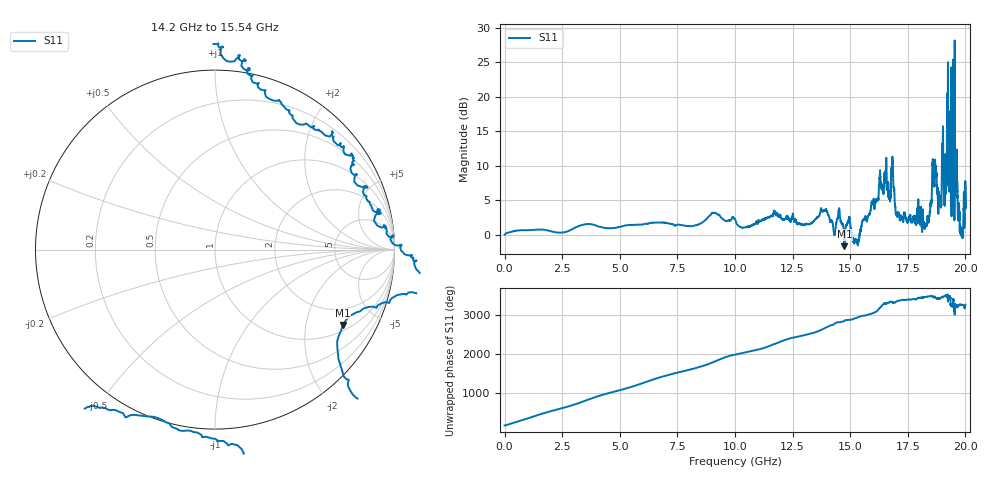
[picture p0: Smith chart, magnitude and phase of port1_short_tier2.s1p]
! Created with skrf 1.8.0 (http://scikit-rf.org).
# GHz S RI R 50.0
!freq ReS11 ImS11
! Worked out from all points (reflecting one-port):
!   10001 points, 1 MHz to 20 GHz, reference 50 ohm
!   lowest |S11| = -1.7 dB at 14.75 GHz (marker M1), VSWR 10.56, Z = 60.8 - j162 ohm
!   phase of S11 starts at 180 deg and turns +3080 deg over the sweep
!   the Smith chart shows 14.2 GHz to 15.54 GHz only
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0.001  -1 0.000158
0.9789511  1.074 -0.1075
2.500875  -0.1466 -1.029
3.478826  0.095 1.186
5.00075  1.139 -0.00354
5.954702  -1.173 0.1803
6.468677  0.1501 -1.212
7.500625  0.0355 1.183
8.258587  -1.117 -0.3503
9.088546  1.439 0.1235
10.0005  -1.299 -0.1058
11.22844  1.284 -0.1782
11.71441  -0.1787 1.461
12.50038  -0.226 -1.334
13.71431  -0.0987 1.499
14.0223  -1.428 0.0564
14.75026  0.712 -0.4206
15.00025  1.196 -0.1632
15.73421  -0.6552 1.089
16.24619  0.3197 -2.166
16.55217  1.347 2.526
17.50013  -1.109 0.5746
18.59207  -2.955 -1.531
18.85406  -2 0.00409
19.13804  -1.408 -3.585
19.25004  -4.112 -0.9012
19.39803  1.331 0.2832
20  1.461 0.5259
